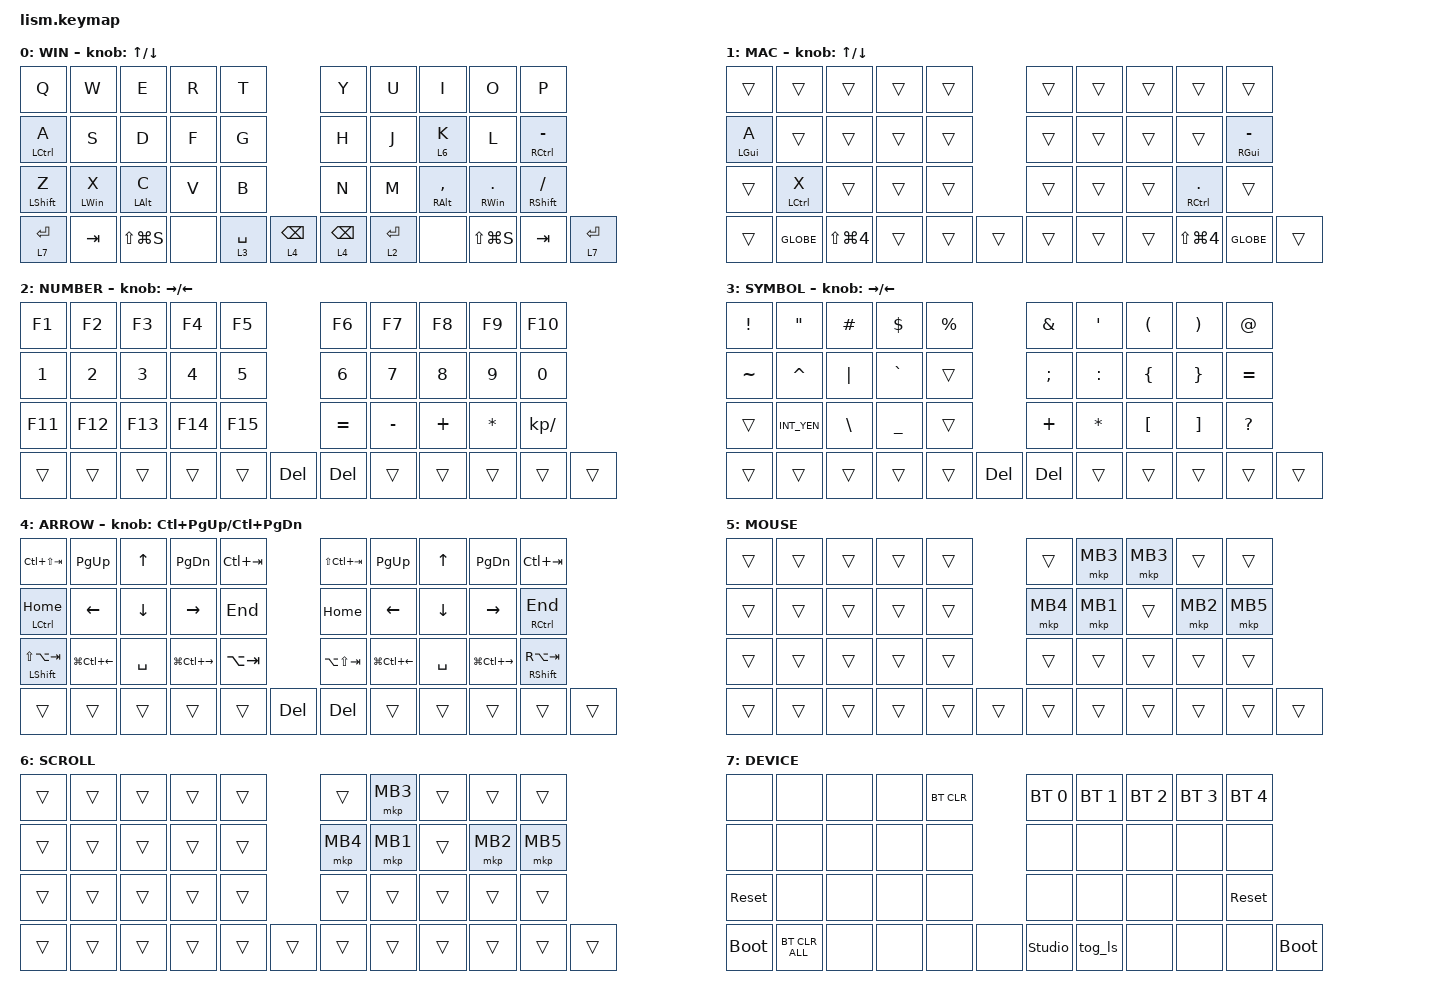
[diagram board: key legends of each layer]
#define ZMK_POINTING_DEFAULT_SCRL_VAL 200

#include <input/processors.dtsi>
#include <behaviors.dtsi>
#include <dt-bindings/zmk/bt.h>
#include <dt-bindings/zmk/keys.h>
#include <dt-bindings/zmk/pointing.h>
#include <layout_shift_kp_override.dtsi>

&mt {
    flavor = "balanced";
    quick-tap-ms = <150>;
    require-prior-idle-ms = <150>;
    hold-trigger-on-release;
};

&lt {
    flavor = "balanced";
    quick-tap-ms = <150>;
};

/ {
    mkp_input_listener {
        compatible = "zmk,input-listener";
        device = <&mkp>;
        input-processors = <&zip_mouse_layer 5 10000>;
    };

    combos {
        compatible = "zmk,combos";

        combo_esc_l {
            bindings = <&kp ESCAPE>;
            key-positions = <1 2>;
        };

        combo_tab_l {
            bindings = <&kp TAB>;
            key-positions = <11 12>;
            require-prior-idle-ms = <150>;
        };

        combo_backspace_l {
            bindings = <&kp BACKSPACE>;
            key-positions = <12 13>;
            require-prior-idle-ms = <150>;
        };

        combo_eisu {
            bindings = <&kp INTERNATIONAL_5>;
            key-positions = <21 22>;
            require-prior-idle-ms = <150>;
        };

        combo_kana {
            bindings = <&kp INTERNATIONAL_4>;
            key-positions = <27 28>;
            require-prior-idle-ms = <150>;
        };

        combo_esc_r {
            bindings = <&kp ESCAPE>;
            key-positions = <7 8>;
        };

        combo_tab_r {
            bindings = <&kp TAB>;
            key-positions = <17 18>;
            require-prior-idle-ms = <150>;
        };

        combo_backspace_r {
            bindings = <&kp BACKSPACE>;
            key-positions = <16 17>;
            require-prior-idle-ms = <150>;
        };

        colon_l {
            bindings = <&kp COLON>;
            key-positions = <2 3>;
        };

        colon_r {
            bindings = <&kp COLON>;
            key-positions = <6 7>;
        };

        semicolon_l {
            bindings = <&kp SEMICOLON>;
            key-positions = <22 23>;
        };

        semicolon_r {
            bindings = <&kp SEMICOLON>;
            key-positions = <26 27>;
        };
    };

    behaviors {
        zip_mouse_layer: zip_mouse_layer {
            compatible = "zmk,input-processor-temp-layer";
            #input-processor-cells = <2>;
            require-prior-idle-ms = <500>;
            excluded-positions = <6 7 16 18>;
        };

        encoder_msc: sensor_rotate_msc {
            compatible = "zmk,behavior-sensor-rotate-var";
            #sensor-binding-cells = <2>;
            bindings = <&msc>, <&msc>;
            tap-ms = <20>;
        };

        encoder_kp: sensor_rotate_kp {
            compatible = "zmk,behavior-sensor-rotate-var";
            #sensor-binding-cells = <2>;
            bindings = <&kp>, <&kp>;
        };
    };

    keymap {
        compatible = "zmk,keymap";

        WIN {
            // layer 0: Windows base layer

            display-name = "WIN";
            bindings = <
                &kp Q               &kp W           &kp E           &kp R           &kp T               &kp Y        &kp U  &kp I               &kp O              &kp P
                &mt LEFT_CONTROL A  &kp S           &kp D           &kp F           &kp G               &kp H        &kp J  &lt 6 K             &kp L              &mt RIGHT_CONTROL MINUS
                &mt LEFT_SHIFT Z    &mt LEFT_WIN X  &mt LEFT_ALT C  &kp V           &kp B               &kp N        &kp M  &mt RIGHT_ALT COMMA &mt RIGHT_WIN DOT  &mt RIGHT_SHIFT SLASH
                &lt 7 ENTER         &kp TAB         &kp LS(LG(S))  &none           &lt 3 SPACE  &lt 4 BACKSPACE    &lt 4 BACKSPACE  &lt 2 ENTER  &none           &kp LS(LG(S))  &kp TAB  &lt 7 ENTER
            >;

            sensor-bindings = <&encoder_kp UP DOWN>;
        };

        MAC {
            // layer 1: macOS base layer
            // Ctrl <-> Cmd(GUI) のみ変更。Alt = Option はそのまま

            display-name = "MAC";
            bindings = <
                &trans          &trans              &trans  &trans  &trans              &trans  &trans  &trans  &trans                     &trans
                &mt LEFT_GUI A  &trans              &trans  &trans  &trans              &trans  &trans  &trans  &trans                     &mt RIGHT_GUI MINUS
                &trans          &mt LEFT_CONTROL X  &trans  &trans  &trans              &trans  &trans  &trans  &mt RIGHT_CONTROL DOT      &trans
                &trans          &kp GLOBE           &kp LS(LG(N4))  &trans  &trans  &trans      &trans  &trans  &trans  &kp LS(LG(N4))  &kp GLOBE  &trans
            >;

            sensor-bindings = <&encoder_kp UP DOWN>;
        };

        NUMBER {
            // layer 2

            display-name = "NUMBER";
            bindings = <
                &kp F1        &kp F2        &kp F3        &kp F4        &kp F5               &kp F6     &kp F7     &kp F8     &kp F9     &kp F10
                &kp NUMBER_1  &kp NUMBER_2  &kp NUMBER_3  &kp NUMBER_4  &kp NUMBER_5         &kp NUMBER_6  &kp NUMBER_7  &kp NUMBER_8  &kp NUMBER_9  &kp NUMBER_0
                &kp F11       &kp F12       &kp F13       &kp F14       &kp F15              &kp EQUAL  &kp MINUS  &kp PLUS   &kp ASTRK  &kp KP_DIVIDE
                &trans        &trans        &trans        &trans        &trans  &kp DEL       &kp DELETE  &trans  &trans  &trans  &trans  &trans
            >;

            sensor-bindings = <&encoder_kp RIGHT LEFT>;
        };

        SYMBOL {
            // layer 3

            display-name = "SYMBOL";
            bindings = <
                &kp EXCLAMATION  &kp DOUBLE_QUOTES  &kp HASH       &kp DOLLAR  &kp PERCENT          &kp AMPERSAND  &kp SQT    &kp LEFT_PARENTHESIS  &kp RIGHT_PARENTHESIS  &kp AT_SIGN
                &kp TILDE        &kp CARET          &kp PIPE       &kp GRAVE   &trans               &kp SEMI       &kp COLON  &kp LEFT_BRACE        &kp RIGHT_BRACE        &kp EQUAL
                &trans           &kp INT_YEN        &kp BACKSLASH  &kp UNDER   &trans               &kp PLUS       &kp ASTRK  &kp LEFT_BRACKET      &kp RIGHT_BRACKET      &kp QUESTION
                &trans           &trans             &trans         &trans      &trans  &kp DELETE    &kp DELETE  &trans  &trans  &trans  &trans  &trans
            >;

            sensor-bindings = <&encoder_kp RIGHT LEFT>;
        };

        ARROW {
            // layer 4

            display-name = "ARROW";
            bindings = <
                &kp LC(LS(TAB))             &kp PAGE_UP            &kp UP_ARROW    &kp PAGE_DOWN           &kp LC(TAB)               &kp LS(LC(TAB))  &kp PAGE_UP       &kp UP_ARROW  &kp PAGE_DOWN      &kp LC(TAB)
                &mt LEFT_CONTROL HOME       &kp LEFT_ARROW         &kp DOWN_ARROW  &kp RIGHT_ARROW         &kp END                   &kp HOME         &kp LEFT_ARROW    &kp DOWN      &kp RIGHT          &mt RIGHT_CONTROL END
                &mt LEFT_SHIFT LS(LA(TAB))  &kp LG(LC(LEFT_ARROW)) &kp SPACE       &kp LG(LC(RIGHT_ARROW)) &kp LA(TAB)               &kp LA(LS(TAB))  &kp LG(LC(LEFT))  &kp SPACE     &kp LG(LC(RIGHT))  &mt RIGHT_SHIFT RA(TAB)
                &trans                      &trans                 &trans          &trans                  &trans  &kp DELETE          &kp DELETE  &trans  &trans  &trans  &trans  &trans
            >;

            sensor-bindings = <&encoder_kp LC(PAGE_UP) LC(PAGE_DOWN)>;
        };

        MOUSE {
            // layer 5: auto-activated by trackball input

            display-name = "MOUSE";
            bindings = <
                &trans  &trans  &trans  &trans  &trans          &trans    &mkp MB3  &mkp MB3  &trans    &trans
                &trans  &trans  &trans  &trans  &trans          &mkp MB4  &mkp MB1  &trans    &mkp MB2  &mkp MB5
                &trans  &trans  &trans  &trans  &trans          &trans    &trans    &trans    &trans    &trans
                &trans  &trans  &trans  &trans  &trans  &trans  &trans    &trans    &trans    &trans    &trans    &trans
            >;
        };

        SCROLL {
            // layer 6: activated by holding K key

            display-name = "SCROLL";
            bindings = <
                &trans  &trans  &trans  &trans  &trans          &trans    &mkp MB3  &trans  &trans    &trans
                &trans  &trans  &trans  &trans  &trans          &mkp MB4  &mkp MB1  &trans  &mkp MB2  &mkp MB5
                &trans  &trans  &trans  &trans  &trans          &trans    &trans    &trans  &trans    &trans
                &trans  &trans  &trans  &trans  &trans  &trans  &trans    &trans    &trans  &trans    &trans    &trans
            >;
        };

        DEVICE {
            // layer 7: Bluetooth and system controls

            display-name = "DEVICE";
            bindings = <
                &none       &none          &none  &none  &bt BT_CLR          &bt BT_SEL 0  &bt BT_SEL 1  &bt BT_SEL 2  &bt BT_SEL 3  &bt BT_SEL 4
                &none       &none          &none  &none  &none               &none         &none         &none         &none         &none
                &sys_reset  &none          &none  &none  &none               &none         &none         &none         &none         &sys_reset
                &bootloader &bt BT_CLR_ALL &none  &none  &none  &none        &studio_unlock &tog_ls       &none         &none         &none  &bootloader
            >;
        };
    };
};
